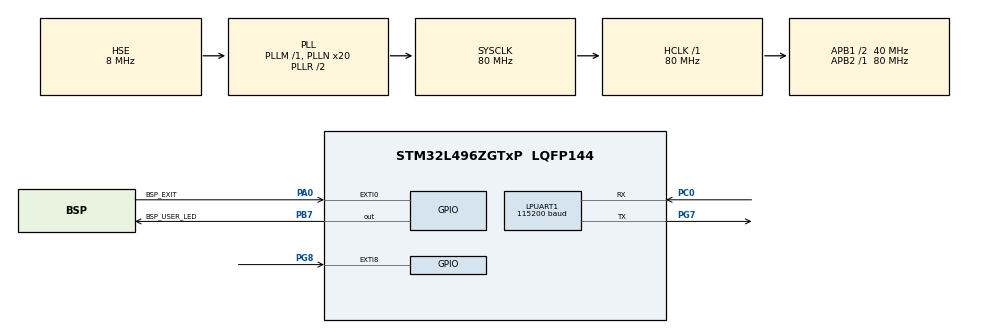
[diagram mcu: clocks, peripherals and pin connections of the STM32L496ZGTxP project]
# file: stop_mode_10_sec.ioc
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LPUART1.BaudRate=115200
LPUART1.WordLength=UART_WORDLENGTH_8B
Mcu.Family=STM32L4
Mcu.Name=STM32L496ZGTxP
Mcu.Package=LQFP144
NVIC.EXTI9_5_IRQn=true\:0\:0\:false\:false\:true\:true\:true\:true
NVIC.PriorityGroup=NVIC_PRIORITYGROUP_4
NVIC.RTC_WKUP_IRQn=true\:0\:0\:false\:false\:true\:true\:true\:true
PA0.GPIO_Label=BSP_EXIT
PA0.Signal=GPXTI0
PA13\ (JTMS/SWDIO).Mode=Serial_Wire
PA13\ (JTMS/SWDIO).Signal=SYS_JTMS-SWDIO
PA14\ (JTCK/SWCLK).Mode=Serial_Wire
PA14\ (JTCK/SWCLK).Signal=SYS_JTCK-SWCLK
PB7.GPIO_Label=BSP_USER_LED
PB7.Signal=GPIO_Output
PC0.Mode=Asynchronous
PC0.Signal=LPUART1_RX
PG7.Mode=Asynchronous
PG7.Signal=LPUART1_TX
PG8.Signal=GPXTI8
PH0-OSC_IN\ (PH0).Mode=HSE-External-Oscillator
PH0-OSC_IN\ (PH0).Signal=RCC_OSC_IN
PH1-OSC_OUT\ (PH1).Mode=HSE-External-Oscillator
PH1-OSC_OUT\ (PH1).Signal=RCC_OSC_OUT
ProjectManager.HeapSize=0x200
ProjectManager.StackSize=0x400
ProjectManager.TargetToolchain=STM32CubeIDE
RCC.48MHZClocksFreq_Value=24000000
RCC.ADCFreq_Value=80000000
RCC.AHBFreq_Value=80000000
RCC.APB1CLKDivider=RCC_HCLK_DIV2
RCC.APB1Freq_Value=40000000
RCC.APB1TimFreq_Value=80000000
RCC.APB2Freq_Value=80000000
RCC.APB2TimFreq_Value=80000000
RCC.CortexFreq_Value=80000000
RCC.HCLKFreq_Value=80000000
RCC.HSE_VALUE=8000000
RCC.HSI48_VALUE=48000000
RCC.HSI_VALUE=16000000
RCC.MSIClockRange=RCC_MSIRANGE_9
RCC.MSI_VALUE=24000000
RCC.PLLMUL=RCC_PLL_MUL9
RCC.PLLN=20
RCC.PLLSAI1N=20
RCC.PLLSourceVirtual=RCC_PLLSOURCE_HSE
RCC.PRESCALERUSB=RCC_USBCLKSOURCE_PLL_DIV1_5
RCC.SYSCLKFreq_VALUE=80000000
RCC.SYSCLKSource=RCC_SYSCLKSOURCE_PLLCLK
RCC.SYSCLKSourceVirtual=RCC_SYSCLKSOURCE_PLLCLK
RCC.USBFreq_Value=80000000
RCC.VCOOutputFreq_Value=160000000
VP_RTC_VS_RTC_Activate.Mode=RTC_Enabled
VP_RTC_VS_RTC_WakeUp_intern.Mode=WakeUp
board=NUCLEO-L496ZG-P

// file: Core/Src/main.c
/* USER CODE BEGIN Header */
/**
  ******************************************************************************
  * @file           : main.c
  * @brief          : Main program body
  ******************************************************************************
  * @attention
  *
  * Copyright (c) 2023 STMicroelectronics.
  * All rights reserved.
  *
  * This software is licensed under terms that can be found in the LICENSE file
  * in the root directory of this software component.
  * If no LICENSE file comes with this software, it is provided AS-IS.
  *
  ******************************************************************************
  */
/* USER CODE END Header */
#include "main.h"

/* USER CODE BEGIN Includes */
#include "string.h"
#include "stdio.h"
/* USER CODE END Includes */

UART_HandleTypeDef hlpuart1;

RTC_HandleTypeDef hrtc;

void SystemClock_Config(void);
static void MX_GPIO_Init(void);
static void MX_LPUART1_UART_Init(void);
static void MX_RTC_Init(void);

/* USER CODE BEGIN 0 */
void HAL_RTCEx_WakeUpTimerEventCallback(RTC_HandleTypeDef *hrtc)
{
	SystemClock_Config ();
	HAL_ResumeTick();
	char *str = "WAKEUP FROM RTC\n NOW GOING IN STOP MODE AGAIN\n\n";
	HAL_UART_Transmit(&hlpuart1, (uint8_t *) str, strlen (str), HAL_MAX_DELAY);

}

void HAL_GPIO_EXTI_Callback(uint16_t GPIO_Pin)
{
  if(GPIO_Pin == BSP_EXIT_Pin)
  {
	  SystemClock_Config ();
	  HAL_ResumeTick();
	  char *str = "WAKEUP FROM EXTII\n\n";
	  HAL_UART_Transmit(&hlpuart1, (uint8_t *) str, strlen (str), HAL_MAX_DELAY);
	  HAL_PWR_DisableSleepOnExit();
  }
}
/* USER CODE END 0 */

int main(void)
{

  /* MCU Configuration--------------------------------------------------------*/

  /* Reset of all peripherals, Initializes the Flash interface and the Systick. */
  HAL_Init();

  /* Configure the system clock */
  SystemClock_Config();

  /* Initialize all configured peripherals */
  MX_GPIO_Init();
  MX_LPUART1_UART_Init();
  MX_RTC_Init();
  /* USER CODE BEGIN 2 */

    for (int i = 0; i < 20; i++) {
  		HAL_GPIO_TogglePin(BSP_USER_LED_GPIO_Port, BSP_USER_LED_Pin);
  		HAL_Delay(250);
   	}
    	char *str = "ABOUT TO GO INTO THE STOP MODE\n\n";
    	HAL_UART_Transmit(&hlpuart1, (uint8_t*) str, strlen(str), HAL_MAX_DELAY);
    	/*## Configure the Wake up timer ###########################################*/
    	/*  RTC Wake-up Interrupt Generation:
    	 Wake-up Time Base = (RTC_WAKEUPCLOCK_RTCCLK_DIV /(LSI))
    	 ==> WakeUpCounter = Wake-up Time / Wake-up Time Base

    	 To configure the wake up timer to 5s the WakeUpCounter is set to 0x2710:
    	 RTC_WAKEUPCLOCK_RTCCLK_DIV = RTCCLK_Div16 = 16
    	 Wake-up Time Base = 16 /(37KHz) = 0.0004 seconds
    	 ==> WakeUpCounter = 10s/0.0004s = 25000 = 0x61A8 */

    	///*  RTC Wake-up Interrupt Generation:
    	if (HAL_RTCEx_SetWakeUpTimer_IT(&hrtc, 0x61A8, RTC_WAKEUPCLOCK_RTCCLK_DIV16)
    			!= HAL_OK) {
    		Error_Handler();
    	}

    	/****** Suspend the Ticks before entering the STOP mode or else this can wake the device up **********/
    	HAL_SuspendTick();

    	// enable sleep on exit for intrupt only opration /////////
    	HAL_PWR_EnableSleepOnExit();

    	/* Enter Stop Mode */
    	HAL_PWR_EnterSTOPMode(PWR_LOWPOWERREGULATOR_ON, PWR_STOPENTRY_WFI);

    	// wake up from the stop mode .......

    	//desable the rtc wake up...
    	HAL_RTCEx_DeactivateWakeUpTimer(&hrtc);

    	for (int i = 0; i < 20; i++) {
    		HAL_GPIO_TogglePin(BSP_USER_LED_GPIO_Port,BSP_USER_LED_Pin);
    		HAL_Delay(200);
    	}
    	char *str2 = "WAKEUP FROM STOP MODEIN MAIN LOOP \n\n";
    	HAL_UART_Transmit(&hlpuart1, (uint8_t*) str2, strlen(str2), HAL_MAX_DELAY);

  /* USER CODE END 2 */

  /* Infinite loop */
  while (1)
  {

  }
}

void SystemClock_Config(void)
{
  RCC_OscInitTypeDef RCC_OscInitStruct = {0};
  RCC_ClkInitTypeDef RCC_ClkInitStruct = {0};

  /** Configure the main internal regulator output voltage
  */
  if (HAL_PWREx_ControlVoltageScaling(PWR_REGULATOR_VOLTAGE_SCALE1) != HAL_OK)
  {
    Error_Handler();
  }

  /** Initializes the RCC Oscillators according to the specified parameters
  * in the RCC_OscInitTypeDef structure.
  */
  RCC_OscInitStruct.OscillatorType = RCC_OSCILLATORTYPE_LSI|RCC_OSCILLATORTYPE_HSE;
  RCC_OscInitStruct.HSEState = RCC_HSE_ON;
  RCC_OscInitStruct.LSIState = RCC_LSI_ON;
  RCC_OscInitStruct.PLL.PLLState = RCC_PLL_ON;
  RCC_OscInitStruct.PLL.PLLSource = RCC_PLLSOURCE_HSE;
  RCC_OscInitStruct.PLL.PLLM = 1;
  RCC_OscInitStruct.PLL.PLLN = 20;
  RCC_OscInitStruct.PLL.PLLP = RCC_PLLP_DIV2;
  RCC_OscInitStruct.PLL.PLLQ = RCC_PLLQ_DIV2;
  RCC_OscInitStruct.PLL.PLLR = RCC_PLLR_DIV2;
  if (HAL_RCC_OscConfig(&RCC_OscInitStruct) != HAL_OK)
  {
    Error_Handler();
  }

  /** Initializes the CPU, AHB and APB buses clocks
  */
  RCC_ClkInitStruct.ClockType = RCC_CLOCKTYPE_HCLK|RCC_CLOCKTYPE_SYSCLK
                              |RCC_CLOCKTYPE_PCLK1|RCC_CLOCKTYPE_PCLK2;
  RCC_ClkInitStruct.SYSCLKSource = RCC_SYSCLKSOURCE_PLLCLK;
  RCC_ClkInitStruct.AHBCLKDivider = RCC_SYSCLK_DIV1;
  RCC_ClkInitStruct.APB1CLKDivider = RCC_HCLK_DIV2;
  RCC_ClkInitStruct.APB2CLKDivider = RCC_HCLK_DIV1;

  if (HAL_RCC_ClockConfig(&RCC_ClkInitStruct, FLASH_LATENCY_4) != HAL_OK)
  {
    Error_Handler();
  }
}

static void MX_LPUART1_UART_Init(void)
{

  hlpuart1.Instance = LPUART1;
  hlpuart1.Init.BaudRate = 115200;
  hlpuart1.Init.WordLength = UART_WORDLENGTH_8B;
  hlpuart1.Init.StopBits = UART_STOPBITS_1;
  hlpuart1.Init.Parity = UART_PARITY_NONE;
  hlpuart1.Init.Mode = UART_MODE_TX_RX;
  hlpuart1.Init.HwFlowCtl = UART_HWCONTROL_NONE;
  hlpuart1.Init.OneBitSampling = UART_ONE_BIT_SAMPLE_DISABLE;
  hlpuart1.AdvancedInit.AdvFeatureInit = UART_ADVFEATURE_NO_INIT;
  if (HAL_UART_Init(&hlpuart1) != HAL_OK)
  {
    Error_Handler();
  }

}

static void MX_RTC_Init(void)
{

  /** Initialize RTC Only
  */
  hrtc.Instance = RTC;
  hrtc.Init.HourFormat = RTC_HOURFORMAT_24;
  hrtc.Init.AsynchPrediv = 127;
  hrtc.Init.SynchPrediv = 255;
  hrtc.Init.OutPut = RTC_OUTPUT_DISABLE;
  hrtc.Init.OutPutRemap = RTC_OUTPUT_REMAP_NONE;
  hrtc.Init.OutPutPolarity = RTC_OUTPUT_POLARITY_HIGH;
  hrtc.Init.OutPutType = RTC_OUTPUT_TYPE_OPENDRAIN;
  if (HAL_RTC_Init(&hrtc) != HAL_OK)
  {
    Error_Handler();
  }

  /** Enable the WakeUp
  */
  if (HAL_RTCEx_SetWakeUpTimer_IT(&hrtc, 0, RTC_WAKEUPCLOCK_RTCCLK_DIV16) != HAL_OK)
  {
    Error_Handler();
  }

}

static void MX_GPIO_Init(void)
{
  GPIO_InitTypeDef GPIO_InitStruct = {0};

  /* GPIO Ports Clock Enable */
  __HAL_RCC_GPIOH_CLK_ENABLE();
  __HAL_RCC_GPIOC_CLK_ENABLE();
  __HAL_RCC_GPIOA_CLK_ENABLE();
  __HAL_RCC_GPIOG_CLK_ENABLE();
  HAL_PWREx_EnableVddIO2();
  __HAL_RCC_GPIOB_CLK_ENABLE();

  /*Configure GPIO pin Output Level */
  HAL_GPIO_WritePin(BSP_USER_LED_GPIO_Port, BSP_USER_LED_Pin, GPIO_PIN_RESET);

  /*Configure GPIO pin : BSP_EXIT_Pin */
  GPIO_InitStruct.Pin = BSP_EXIT_Pin;
  GPIO_InitStruct.Mode = GPIO_MODE_IT_RISING;
  GPIO_InitStruct.Pull = GPIO_NOPULL;
  HAL_GPIO_Init(BSP_EXIT_GPIO_Port, &GPIO_InitStruct);

  /*Configure GPIO pin : PG8 */
  GPIO_InitStruct.Pin = GPIO_PIN_8;
  GPIO_InitStruct.Mode = GPIO_MODE_IT_RISING;
  GPIO_InitStruct.Pull = GPIO_NOPULL;
  HAL_GPIO_Init(GPIOG, &GPIO_InitStruct);

  /*Configure GPIO pin : BSP_USER_LED_Pin */
  GPIO_InitStruct.Pin = BSP_USER_LED_Pin;
  GPIO_InitStruct.Mode = GPIO_MODE_OUTPUT_PP;
  GPIO_InitStruct.Pull = GPIO_NOPULL;
  GPIO_InitStruct.Speed = GPIO_SPEED_FREQ_LOW;
  HAL_GPIO_Init(BSP_USER_LED_GPIO_Port, &GPIO_InitStruct);

  /* EXTI interrupt init*/
  HAL_NVIC_SetPriority(EXTI9_5_IRQn, 0, 0);
  HAL_NVIC_EnableIRQ(EXTI9_5_IRQn);

}

void Error_Handler(void)
{
  __disable_irq();
  while (1)
  {
  }
}
